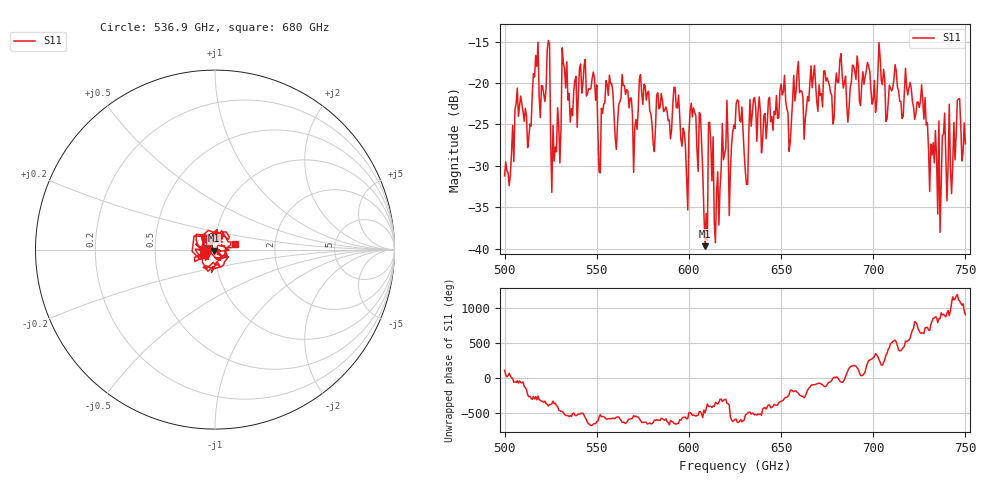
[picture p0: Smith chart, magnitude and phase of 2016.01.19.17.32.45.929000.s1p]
!Created with skrf (http://scikit-rf.org).
# GHz S RI R 50.0
!freq ReS11 ImS11
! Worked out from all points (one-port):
!   401 points, 500 GHz to 750 GHz, reference 50 ohm
!   lowest |S11| = -39.7 dB at 608.8 GHz (marker M1), VSWR 1.02, Z = 49.2 - j0.646 ohm
!   |S11| at or under -10 dB: start of sweep to end of sweep
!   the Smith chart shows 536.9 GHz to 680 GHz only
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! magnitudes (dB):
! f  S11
! 500 GHz  -31.2
! 507.5 GHz  -24.0
! 513.1 GHz  -26.6
! 516.9 GHz  -16.7
! 523.1 GHz  -15.9
! 526.9 GHz  -29.4
! 531.2 GHz  -15.7
! 548.8 GHz  -19.4
! 551.9 GHz  -30.9
! 556.2 GHz  -21.5
! 562.5 GHz  -22.2
! 593.8 GHz  -23.0
! 598.8 GHz  -31.5
! 602.5 GHz  -23.0
! 606.9 GHz  -27.4
! 608.8 GHz  -39.7
! 611.9 GHz  -27.3
! 615 GHz  -33.2
! 619.4 GHz  -28.5
! 625 GHz  -25.5
! 631.2 GHz  -32.3
! 634.4 GHz  -23.8
! 656.2 GHz  -22.1
! 687.5 GHz  -20.6
! 718.8 GHz  -21.4
! 735.6 GHz  -24.6
! 746.2 GHz  -21.9
! 750 GHz  -27.3
